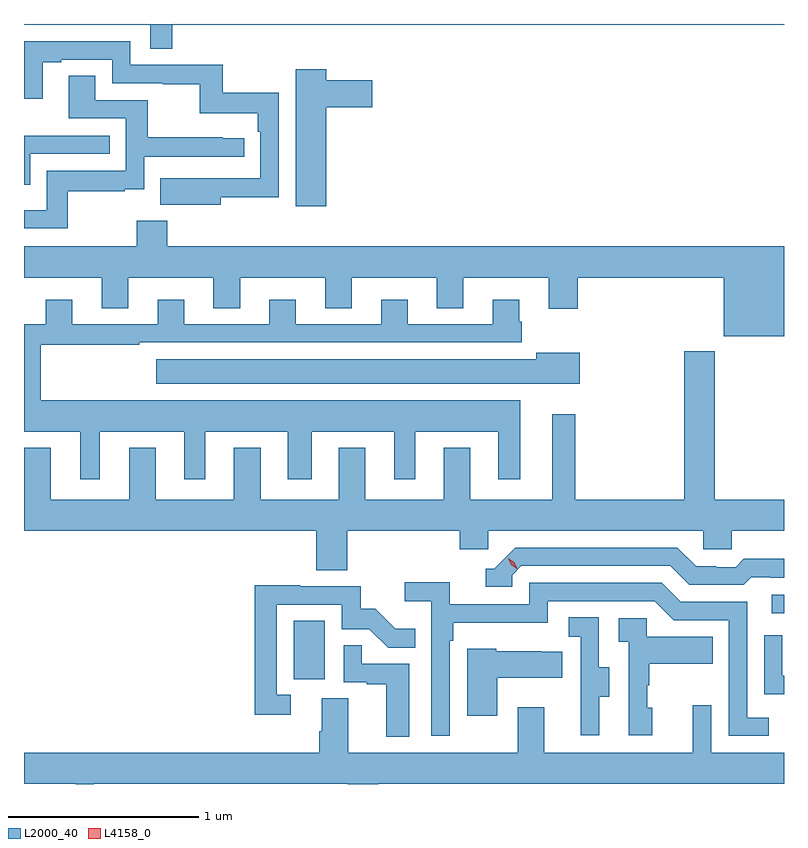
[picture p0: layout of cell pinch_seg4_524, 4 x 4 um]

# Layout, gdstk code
import gdstk
lib = gdstk.Library(unit=1e-6, precision=1e-09)
def R(c, l, rs):  # rectangles x0, y0, x1, y1
    for r in rs: c.add(gdstk.rectangle(r[:2], r[2:], *l))
def P(c, l, *ps):  # polygons
    for p in ps: c.add(gdstk.Polygon(p, *l))
L2000_40 = (2000, 40)
L4158_0 = (4158, 0)

pinch_seg4_524 = lib.new_cell('pinch_seg4_524')
R(pinch_seg4_524, L2000_40, [(1081.07,769.398,1081.234,769.705), (1083.585,769.746,1083.65,769.842)])
P(pinch_seg4_524, L2000_40, [(1080.431,772.844),(1083.65,772.844),(1083.65,772.847),(1079.65,772.847),(1079.65,772.844),(1080.315,772.844),(1080.315,772.717),(1080.431,772.717)],
  [(1080.685,771.934),(1080.99,771.934),(1080.99,772.486),(1080.697,772.486),(1080.697,772.632),(1080.21,772.632),(1080.21,772.755),(1079.652,772.755),(1079.652,772.551),(1079.65,772.551),(1079.65,772.454),(1079.749,772.454),(1079.749,772.647),(1079.845,772.647),(1079.845,772.659),(1080.114,772.659),(1080.114,772.536),(1080.379,772.536),(1080.379,772.531),(1080.576,772.531),(1080.576,772.376),(1080.881,772.376),(1080.881,772.28),(1080.894,772.28),(1080.894,772.035),(1080.581,772.035),(1080.581,772.036),(1080.367,772.036),(1080.367,771.896),(1080.685,771.896)],
  [(1081.24,772.409),(1081.483,772.409),(1081.483,772.551),(1081.24,772.551),(1081.24,772.609),(1081.079,772.609),(1081.079,771.888),(1081.24,771.888)],
  [(1079.881,771.966),(1080.179,771.966),(1080.179,771.977),(1080.282,771.977),(1080.282,772.149),(1080.808,772.149),(1080.808,772.245),(1080.695,772.245),(1080.695,772.25),(1080.302,772.25),(1080.302,772.446),(1080.025,772.446),(1080.025,772.574),(1079.885,772.574),(1079.885,772.35),(1080.186,772.35),(1080.186,772.074),(1079.77,772.074),(1079.77,771.868),(1079.65,771.868),(1079.65,771.771),(1079.881,771.771)],
  [(1079.682,772.164),(1080.101,772.164),(1080.101,772.26),(1079.65,772.26),(1079.65,772.001),(1079.682,772.001)],
  [(1080.404,771.811),(1080.244,771.811),(1080.244,771.676),(1079.65,771.676),(1079.65,771.512),(1080.059,771.512),(1080.059,771.352),(1080.199,771.352),(1080.199,771.512),(1080.647,771.512),(1080.647,771.352),(1080.787,771.352),(1080.787,771.512),(1081.235,771.512),(1081.235,771.352),(1081.375,771.352),(1081.375,771.512),(1081.823,771.512),(1081.823,771.352),(1081.963,771.352),(1081.963,771.512),(1082.411,771.512),(1082.411,771.348),(1082.564,771.348),(1082.564,771.512),(1083.332,771.512),(1083.332,771.203),(1083.65,771.203),(1083.65,771.676),(1080.404,771.676)],
  [(1080.049,770.702),(1080.494,770.702),(1080.494,770.451),(1080.604,770.451),(1080.604,770.702),(1081.037,770.702),(1081.037,770.451),(1081.165,770.451),(1081.165,770.702),(1081.598,770.702),(1081.598,770.451),(1081.708,770.451),(1081.708,770.702),(1082.147,770.702),(1082.147,770.451),(1082.263,770.451),(1082.263,770.866),(1079.737,770.866),(1079.737,771.159),(1080.257,771.159),(1080.257,771.171),(1082.27,771.171),(1082.27,771.279),(1082.257,771.279),(1082.257,771.397),(1082.117,771.397),(1082.117,771.267),(1081.669,771.267),(1081.669,771.397),(1081.529,771.397),(1081.529,771.267),(1081.081,771.267),(1081.081,771.397),(1080.941,771.397),(1080.941,771.267),(1080.493,771.267),(1080.493,771.397),(1080.353,771.397),(1080.353,771.267),(1079.905,771.267),(1079.905,771.397),(1079.765,771.397),(1079.765,771.268),(1079.65,771.268),(1079.65,770.702),(1079.945,770.702),(1079.945,770.451),(1080.049,770.451)],
  [(1081.352,770.18),(1081.943,770.18),(1081.943,770.082),(1082.094,770.082),(1082.094,770.18),(1083.225,770.18),(1083.225,770.082),(1083.375,770.082),(1083.375,770.18),(1083.65,770.18),(1083.65,770.344),(1083.285,770.344),(1083.285,771.124),(1083.125,771.124),(1083.125,770.344),(1082.551,770.344),(1082.551,770.794),(1082.429,770.794),(1082.429,770.344),(1081.999,770.344),(1081.999,770.617),(1081.859,770.617),(1081.859,770.344),(1081.447,770.344),(1081.447,770.617),(1081.307,770.617),(1081.307,770.344),(1080.895,770.344),(1080.895,770.617),(1080.755,770.617),(1080.755,770.344),(1080.343,770.344),(1080.343,770.617),(1080.203,770.617),(1080.203,770.344),(1079.791,770.344),(1079.791,770.617),(1079.651,770.617),(1079.651,770.344),(1079.65,770.344),(1079.65,770.18),(1081.187,770.18),(1081.187,769.972),(1081.352,769.972)],
  [(1082.575,771.118),(1082.345,771.118),(1082.345,771.082),(1080.345,771.082),(1080.345,770.954),(1082.575,770.954)],
  [(1082.22,769.947),(1082.268,769.995),(1083.051,769.995),(1083.15,769.896),(1083.439,769.896),(1083.478,769.935),(1083.577,769.935),(1083.577,769.932),(1083.65,769.932),(1083.65,770.032),(1083.439,770.032),(1083.397,769.989),(1083.294,769.989),(1083.294,769.992),(1083.187,769.992),(1083.088,770.091),(1082.235,770.091),(1082.124,769.98),(1082.081,769.98),(1082.081,769.884),(1082.22,769.884)],
  [(1081.89,769.601),(1081.91,769.601),(1081.91,769.697),(1082.406,769.697),(1082.406,769.809),(1082.97,769.809),(1083.069,769.71),(1083.36,769.71),(1083.36,769.101),(1083.569,769.101),(1083.569,769.197),(1083.456,769.197),(1083.456,769.806),(1083.106,769.806),(1083.007,769.905),(1082.31,769.905),(1082.31,769.794),(1081.892,769.794),(1081.892,769.91),(1081.653,769.91),(1081.653,769.808),(1081.794,769.808),(1081.794,769.101),(1081.89,769.101)],
  [(1081.054,769.317),(1080.981,769.317),(1080.981,769.791),(1081.323,769.791),(1081.323,769.662),(1081.468,769.662),(1081.566,769.564),(1081.709,769.564),(1081.709,769.663),(1081.605,769.663),(1081.498,769.77),(1081.422,769.77),(1081.422,769.887),(1081.103,769.887),(1081.103,769.892),(1080.865,769.892),(1080.865,769.212),(1081.054,769.212)],
  [(1082.677,769.306),(1082.731,769.306),(1082.731,769.461),(1082.676,769.461),(1082.676,769.724),(1082.517,769.724),(1082.517,769.621),(1082.58,769.621),(1082.58,769.317),(1082.579,769.317),(1082.579,769.104),(1082.677,769.104)],
  [(1082.956,769.248),(1082.931,769.248),(1082.931,769.367),(1082.941,769.367),(1082.941,769.481),(1083.275,769.481),(1083.275,769.621),(1082.928,769.621),(1082.928,769.719),(1082.781,769.719),(1082.781,769.595),(1082.832,769.595),(1082.832,769.104),(1082.956,769.104)],
  [(1083.65,769.418),(1083.642,769.418),(1083.642,769.63),(1083.546,769.63),(1083.546,769.32),(1083.65,769.32)],
  [(1081.678,769.479),(1081.427,769.479),(1081.427,769.577),(1081.332,769.577),(1081.332,769.383),(1081.453,769.383),(1081.453,769.371),(1081.556,769.371),(1081.556,769.097),(1081.678,769.097)],
  [(1082.14,769.406),(1082.483,769.406),(1082.483,769.543),(1082.375,769.543),(1082.375,769.546),(1082.136,769.546),(1082.136,769.558),(1081.982,769.558),(1081.982,769.206),(1082.14,769.206)],
  [(1080.018,768.848),(1081.354,768.848),(1081.354,768.847),(1081.514,768.847),(1081.514,768.848),(1083.65,768.848),(1083.65,769.012),(1083.267,769.012),(1083.267,769.261),(1083.17,769.261),(1083.17,769.012),(1082.389,769.012),(1082.389,769.252),(1082.249,769.252),(1082.249,769.012),(1081.357,769.012),(1081.357,769.298),(1081.217,769.298),(1081.217,769.124),(1081.205,769.124),(1081.205,769.012),(1079.65,769.012),(1079.65,768.848),(1079.922,768.848),(1079.922,768.847),(1080.018,768.847)])
P(pinch_seg4_524, L4158_0, [(1082.244,769.981),(1082.214,770.001),(1082.198,770.034),(1082.198,770.035),(1082.198,770.035),(1082.229,770.014),(1082.245,769.981),(1082.245,769.981)])

lib.write_gds('pinch_seg4_524.gds')
